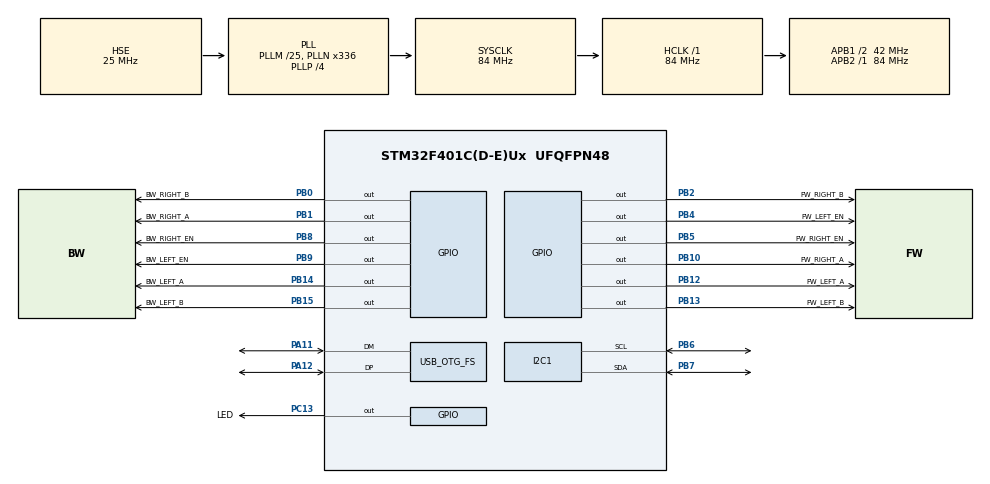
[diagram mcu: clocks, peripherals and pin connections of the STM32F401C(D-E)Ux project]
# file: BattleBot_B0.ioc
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Mcu.Family=STM32F4
Mcu.Name=STM32F401C(D-E)Ux
Mcu.Package=UFQFPN48
NVIC.OTG_FS_IRQn=true\:0\:0\:false\:false\:true\:false\:true\:true
NVIC.PriorityGroup=NVIC_PRIORITYGROUP_4
PA11.Mode=Device_Only
PA11.Signal=USB_OTG_FS_DM
PA12.Mode=Device_Only
PA12.Signal=USB_OTG_FS_DP
PB0.GPIO_Label=BW_RIGHT_B
PB0.Signal=GPIO_Output
PB1.GPIO_Label=BW_RIGHT_A
PB1.Signal=GPIO_Output
PB10.GPIO_Label=FW_RIGHT_A
PB10.Signal=GPIO_Output
PB12.GPIO_Label=FW_LEFT_A
PB12.Signal=GPIO_Output
PB13.GPIO_Label=FW_LEFT_B
PB13.Signal=GPIO_Output
PB14.GPIO_Label=BW_LEFT_A
PB14.Signal=GPIO_Output
PB15.GPIO_Label=BW_LEFT_B
PB15.Signal=GPIO_Output
PB2.GPIO_Label=FW_RIGHT_B
PB2.Signal=GPIO_Output
PB4.GPIO_Label=FW_LEFT_EN
PB4.Signal=GPIO_Output
PB5.GPIO_Label=FW_RIGHT_EN
PB5.Signal=GPIO_Output
PB6.Mode=I2C
PB6.Signal=I2C1_SCL
PB7.Mode=I2C
PB7.Signal=I2C1_SDA
PB8.GPIO_Label=BW_RIGHT_EN
PB8.Signal=GPIO_Output
PB9.GPIO_Label=BW_LEFT_EN
PB9.Signal=GPIO_Output
PC13-ANTI_TAMP.GPIO_Label=LED
PC13-ANTI_TAMP.Signal=GPIO_Output
PC14-OSC32_IN.Mode=LSE-External-Oscillator
PC14-OSC32_IN.Signal=RCC_OSC32_IN
PC15-OSC32_OUT.Mode=LSE-External-Oscillator
PC15-OSC32_OUT.Signal=RCC_OSC32_OUT
PH0\ -\ OSC_IN.Mode=HSE-External-Oscillator
PH0\ -\ OSC_IN.Signal=RCC_OSC_IN
PH1\ -\ OSC_OUT.Mode=HSE-External-Oscillator
PH1\ -\ OSC_OUT.Signal=RCC_OSC_OUT
ProjectManager.HeapSize=0x200
ProjectManager.StackSize=0x400
ProjectManager.TargetToolchain=STM32CubeIDE
RCC.48MHZClocksFreq_Value=48000000
RCC.AHBFreq_Value=84000000
RCC.APB1CLKDivider=RCC_HCLK_DIV2
RCC.APB1Freq_Value=42000000
RCC.APB1TimFreq_Value=84000000
RCC.APB2Freq_Value=84000000
RCC.APB2TimFreq_Value=84000000
RCC.CortexFreq_Value=84000000
RCC.HCLKFreq_Value=84000000
RCC.HSE_VALUE=25000000
RCC.HSI_VALUE=16000000
RCC.PLLM=25
RCC.PLLN=336
RCC.PLLP=RCC_PLLP_DIV4
RCC.PLLQ=7
RCC.SYSCLKFreq_VALUE=84000000
RCC.SYSCLKSource=RCC_SYSCLKSOURCE_PLLCLK
RCC.VCOOutputFreq_Value=336000000
USB_DEVICE.CLASS_NAME_FS=CDC
USB_DEVICE.VirtualMode-CDC_FS=Cdc
USB_DEVICE.VirtualModeFS=Cdc_FS
USB_OTG_FS.VirtualMode=Device_Only
VP_USB_DEVICE_VS_USB_DEVICE_CDC_FS.Mode=CDC_FS
board=custom

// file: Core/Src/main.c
/* USER CODE BEGIN Header */
/**
  ******************************************************************************
  * @file           : main.c
  * @brief          : Main program body
  ******************************************************************************
  * @attention
  *
  * Copyright (c) 2023 STMicroelectronics.
  * All rights reserved.
  *
  * This software is licensed under terms that can be found in the LICENSE file
  * in the root directory of this software component.
  * If no LICENSE file comes with this software, it is provided AS-IS.
  *
  ******************************************************************************
  */
/* USER CODE END Header */
#include "main.h"
#include "usb_device.h"

/* USER CODE BEGIN Includes */
#include <motors.h>

/* USER CODE END Includes */

/* USER CODE BEGIN PD */

/* Forward right motor directions */
#define FW_R_FW 1
#define FW_R_BW 0

/* Backward right motor directions */
#define BW_R_FW 0
#define BW_R_BW 1

/* Forward left motor directions */
#define FW_L_FW 1
#define FW_L_BW 0

/* Backward left motor directions */
#define BW_L_FW 0
#define BW_L_BW 1

/* Delay */
#define TEST_DELAY 700

/* USER CODE END PD */

 I2C_HandleTypeDef hi2c1;

/* USER CODE BEGIN PV */

 /* Forward right motor */
 struct motor FW_RIGHT = {
		 .motor_en_gpio_port = FW_RIGHT_EN_GPIO_Port,
		 .motor_en_pin = FW_RIGHT_EN_Pin,
		 .motor_A_dir_gpio_port = FW_RIGHT_A_GPIO_Port,
		 .motor_A_dir_pin = FW_RIGHT_A_Pin,
		 .motor_B_dir_gpio_port = FW_RIGHT_B_GPIO_Port,
		 .motor_B_dir_pin = FW_RIGHT_B_Pin
 };

 /* Backward right motor */
 struct motor BW_RIGHT = {
 		 .motor_en_gpio_port = BW_RIGHT_EN_GPIO_Port,
 		 .motor_en_pin = BW_RIGHT_EN_Pin,
 		 .motor_A_dir_gpio_port = BW_RIGHT_A_GPIO_Port,
 		 .motor_A_dir_pin = BW_RIGHT_A_Pin,
 		 .motor_B_dir_gpio_port = BW_RIGHT_B_GPIO_Port,
 		 .motor_B_dir_pin = BW_RIGHT_B_Pin
  };

 /* Forward left motor */
 struct motor FW_LEFT = {
 		 .motor_en_gpio_port = FW_LEFT_EN_GPIO_Port,
 		 .motor_en_pin = FW_LEFT_EN_Pin,
 		 .motor_A_dir_gpio_port = FW_LEFT_A_GPIO_Port,
 		 .motor_A_dir_pin = FW_LEFT_A_Pin,
 		 .motor_B_dir_gpio_port = FW_LEFT_B_GPIO_Port,
 		 .motor_B_dir_pin = FW_LEFT_B_Pin
  };

 /* Backward left motor */
 struct motor BW_LEFT = {
  		 .motor_en_gpio_port = BW_LEFT_EN_GPIO_Port,
  		 .motor_en_pin = BW_LEFT_EN_Pin,
  		 .motor_A_dir_gpio_port = BW_LEFT_A_GPIO_Port,
  		 .motor_A_dir_pin = BW_LEFT_A_Pin,
  		 .motor_B_dir_gpio_port = BW_LEFT_B_GPIO_Port,
  		 .motor_B_dir_pin = BW_LEFT_B_Pin
   };

/* USER CODE END PV */

void SystemClock_Config(void);
static void MX_GPIO_Init(void);
static void MX_I2C1_Init(void);

int main(void)
{

  /* MCU Configuration--------------------------------------------------------*/

  /* Reset of all peripherals, Initializes the Flash interface and the Systick. */
  HAL_Init();

  /* Configure the system clock */
  SystemClock_Config();

  /* Initialize all configured peripherals */
  MX_GPIO_Init();
  MX_USB_DEVICE_Init();
  MX_I2C1_Init();
  /* USER CODE BEGIN 2 */

  for(int i = 0; i < 3; i++)
  {
	  /* Forward right motor test control */
	  	  motor_enable(&FW_RIGHT);
	  	  motor_enable(&BW_RIGHT);
	  	  motor_enable(&FW_LEFT);
	  	  motor_enable(&BW_LEFT);

	  	  motor_move(&FW_RIGHT, FW_R_FW, 100);
	  	  motor_move(&BW_RIGHT, BW_R_FW, 100);
	  	  motor_move(&FW_LEFT, FW_L_FW, 100);
	  	  motor_move(&BW_LEFT, BW_L_FW, 100);

	  	  HAL_Delay(TEST_DELAY);

	  	  motor_stop(&FW_RIGHT);
	  	  motor_stop(&BW_RIGHT);
	  	  motor_stop(&FW_LEFT);
	  	  motor_stop(&BW_LEFT);

	  	  HAL_Delay(TEST_DELAY);
  }

  /* USER CODE END 2 */

  /* Infinite loop */
  /* USER CODE BEGIN WHILE */
  while (1)
  {
	  HAL_GPIO_TogglePin(LED_GPIO_Port, LED_Pin);

	  HAL_Delay(500);

    /* USER CODE END WHILE */

  }
}

void SystemClock_Config(void)
{
  RCC_OscInitTypeDef RCC_OscInitStruct = {0};
  RCC_ClkInitTypeDef RCC_ClkInitStruct = {0};

  /** Configure the main internal regulator output voltage
  */
  __HAL_RCC_PWR_CLK_ENABLE();
  __HAL_PWR_VOLTAGESCALING_CONFIG(PWR_REGULATOR_VOLTAGE_SCALE2);

  /** Initializes the RCC Oscillators according to the specified parameters
  * in the RCC_OscInitTypeDef structure.
  */
  RCC_OscInitStruct.OscillatorType = RCC_OSCILLATORTYPE_HSE;
  RCC_OscInitStruct.HSEState = RCC_HSE_ON;
  RCC_OscInitStruct.PLL.PLLState = RCC_PLL_ON;
  RCC_OscInitStruct.PLL.PLLSource = RCC_PLLSOURCE_HSE;
  RCC_OscInitStruct.PLL.PLLM = 25;
  RCC_OscInitStruct.PLL.PLLN = 336;
  RCC_OscInitStruct.PLL.PLLP = RCC_PLLP_DIV4;
  RCC_OscInitStruct.PLL.PLLQ = 7;
  if (HAL_RCC_OscConfig(&RCC_OscInitStruct) != HAL_OK)
  {
    Error_Handler();
  }

  /** Initializes the CPU, AHB and APB buses clocks
  */
  RCC_ClkInitStruct.ClockType = RCC_CLOCKTYPE_HCLK|RCC_CLOCKTYPE_SYSCLK
                              |RCC_CLOCKTYPE_PCLK1|RCC_CLOCKTYPE_PCLK2;
  RCC_ClkInitStruct.SYSCLKSource = RCC_SYSCLKSOURCE_PLLCLK;
  RCC_ClkInitStruct.AHBCLKDivider = RCC_SYSCLK_DIV1;
  RCC_ClkInitStruct.APB1CLKDivider = RCC_HCLK_DIV2;
  RCC_ClkInitStruct.APB2CLKDivider = RCC_HCLK_DIV1;

  if (HAL_RCC_ClockConfig(&RCC_ClkInitStruct, FLASH_LATENCY_2) != HAL_OK)
  {
    Error_Handler();
  }
}

static void MX_I2C1_Init(void)
{

  hi2c1.Instance = I2C1;
  hi2c1.Init.ClockSpeed = 100000;
  hi2c1.Init.DutyCycle = I2C_DUTYCYCLE_2;
  hi2c1.Init.OwnAddress1 = 0;
  hi2c1.Init.AddressingMode = I2C_ADDRESSINGMODE_7BIT;
  hi2c1.Init.DualAddressMode = I2C_DUALADDRESS_DISABLE;
  hi2c1.Init.OwnAddress2 = 0;
  hi2c1.Init.GeneralCallMode = I2C_GENERALCALL_DISABLE;
  hi2c1.Init.NoStretchMode = I2C_NOSTRETCH_DISABLE;
  if (HAL_I2C_Init(&hi2c1) != HAL_OK)
  {
    Error_Handler();
  }

}

static void MX_GPIO_Init(void)
{
  GPIO_InitTypeDef GPIO_InitStruct = {0};

  /* GPIO Ports Clock Enable */
  __HAL_RCC_GPIOC_CLK_ENABLE();
  __HAL_RCC_GPIOH_CLK_ENABLE();
  __HAL_RCC_GPIOB_CLK_ENABLE();
  __HAL_RCC_GPIOA_CLK_ENABLE();

  /*Configure GPIO pin Output Level */
  HAL_GPIO_WritePin(LED_GPIO_Port, LED_Pin, GPIO_PIN_RESET);

  /*Configure GPIO pin Output Level */
  HAL_GPIO_WritePin(GPIOB, BW_RIGHT_B_Pin|BW_RIGHT_A_Pin|FW_RIGHT_B_Pin|FW_RIGHT_A_Pin
                          |FW_LEFT_A_Pin|FW_LEFT_B_Pin|BW_LEFT_A_Pin|BW_LEFT_B_Pin
                          |FW_LEFT_EN_Pin|FW_RIGHT_EN_Pin|BW_RIGHT_EN_Pin|BW_LEFT_EN_Pin, GPIO_PIN_RESET);

  /*Configure GPIO pin : LED_Pin */
  GPIO_InitStruct.Pin = LED_Pin;
  GPIO_InitStruct.Mode = GPIO_MODE_OUTPUT_PP;
  GPIO_InitStruct.Pull = GPIO_NOPULL;
  GPIO_InitStruct.Speed = GPIO_SPEED_FREQ_LOW;
  HAL_GPIO_Init(LED_GPIO_Port, &GPIO_InitStruct);

  /*Configure GPIO pins : BW_RIGHT_B_Pin BW_RIGHT_A_Pin FW_RIGHT_B_Pin FW_RIGHT_A_Pin
                           FW_LEFT_A_Pin FW_LEFT_B_Pin BW_LEFT_A_Pin BW_LEFT_B_Pin
                           FW_LEFT_EN_Pin FW_RIGHT_EN_Pin BW_RIGHT_EN_Pin BW_LEFT_EN_Pin */
  GPIO_InitStruct.Pin = BW_RIGHT_B_Pin|BW_RIGHT_A_Pin|FW_RIGHT_B_Pin|FW_RIGHT_A_Pin
                          |FW_LEFT_A_Pin|FW_LEFT_B_Pin|BW_LEFT_A_Pin|BW_LEFT_B_Pin
                          |FW_LEFT_EN_Pin|FW_RIGHT_EN_Pin|BW_RIGHT_EN_Pin|BW_LEFT_EN_Pin;
  GPIO_InitStruct.Mode = GPIO_MODE_OUTPUT_PP;
  GPIO_InitStruct.Pull = GPIO_NOPULL;
  GPIO_InitStruct.Speed = GPIO_SPEED_FREQ_LOW;
  HAL_GPIO_Init(GPIOB, &GPIO_InitStruct);

}

void Error_Handler(void)
{
  __disable_irq();
  while (1)
  {
  }
}
